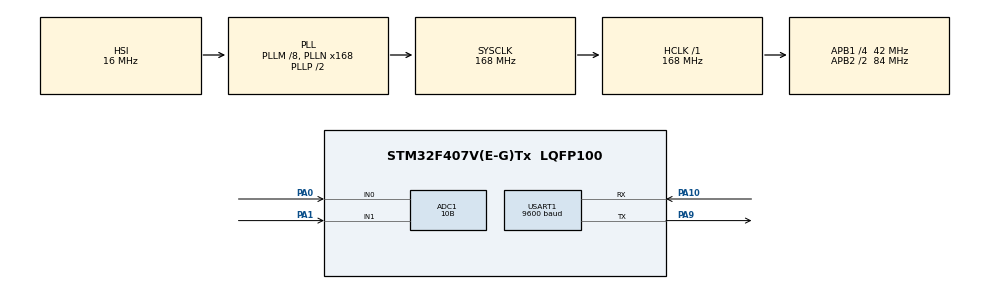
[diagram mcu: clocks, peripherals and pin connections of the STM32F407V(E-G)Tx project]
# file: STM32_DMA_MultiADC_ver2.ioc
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ADC1.Channel-0\#ChannelRegularConversion=ADC_CHANNEL_0
ADC1.Channel-1\#ChannelRegularConversion=ADC_CHANNEL_1
ADC1.ClockPrescaler=ADC_CLOCK_SYNC_PCLK_DIV4
ADC1.ContinuousConvMode=ENABLE
ADC1.DMAContinuousRequests=ENABLE
ADC1.DiscontinuousConvMode=DISABLE
ADC1.NbrOfConversion=2
ADC1.NbrOfConversionFlag=1
ADC1.Rank-0\#ChannelRegularConversion=1
ADC1.Rank-1\#ChannelRegularConversion=2
ADC1.Resolution=ADC_RESOLUTION_10B
ADC1.SamplingTime-0\#ChannelRegularConversion=ADC_SAMPLETIME_144CYCLES
ADC1.SamplingTime-1\#ChannelRegularConversion=ADC_SAMPLETIME_144CYCLES
ADC1.ScanConvMode=ENABLE
ADC1.master=1
Dma.ADC1.0.Direction=DMA_PERIPH_TO_MEMORY
Dma.ADC1.0.FIFOMode=DMA_FIFOMODE_DISABLE
Dma.ADC1.0.Instance=DMA2_Stream0
Dma.ADC1.0.MemDataAlignment=DMA_MDATAALIGN_HALFWORD
Dma.ADC1.0.MemInc=DMA_MINC_ENABLE
Dma.ADC1.0.Mode=DMA_CIRCULAR
Dma.ADC1.0.PeriphDataAlignment=DMA_PDATAALIGN_HALFWORD
Dma.ADC1.0.PeriphInc=DMA_PINC_DISABLE
Dma.ADC1.0.Priority=DMA_PRIORITY_VERY_HIGH
Dma.Request0=ADC1
Mcu.Family=STM32F4
Mcu.Name=STM32F407V(E-G)Tx
Mcu.Package=LQFP100
NVIC.DMA2_Stream0_IRQn=true\:0\:0\:false\:false\:true\:false\:true\:true
NVIC.PriorityGroup=NVIC_PRIORITYGROUP_4
PA0-WKUP.Signal=ADCx_IN0
PA1.Signal=ADCx_IN1
PA10.Mode=Asynchronous
PA10.Signal=USART1_RX
PA13.Mode=Serial_Wire
PA13.Signal=SYS_JTMS-SWDIO
PA14.Mode=Serial_Wire
PA14.Signal=SYS_JTCK-SWCLK
PA9.Mode=Asynchronous
PA9.Signal=USART1_TX
PH0-OSC_IN.Mode=HSE-External-Oscillator
PH0-OSC_IN.Signal=RCC_OSC_IN
PH1-OSC_OUT.Mode=HSE-External-Oscillator
PH1-OSC_OUT.Signal=RCC_OSC_OUT
ProjectManager.HeapSize=0x200
ProjectManager.StackSize=0x400
ProjectManager.TargetToolchain=EWARM V8.50
RCC.48MHZClocksFreq_Value=84000000
RCC.AHBFreq_Value=168000000
RCC.APB1CLKDivider=RCC_HCLK_DIV4
RCC.APB1Freq_Value=42000000
RCC.APB1TimFreq_Value=84000000
RCC.APB2CLKDivider=RCC_HCLK_DIV2
RCC.APB2Freq_Value=84000000
RCC.APB2TimFreq_Value=168000000
RCC.CortexFreq_Value=168000000
RCC.HCLKFreq_Value=168000000
RCC.HSE_VALUE=8000000
RCC.HSI_VALUE=16000000
RCC.LSE_VALUE=32768
RCC.PLLM=8
RCC.PLLN=168
RCC.SYSCLKFreq_VALUE=168000000
RCC.SYSCLKSource=RCC_SYSCLKSOURCE_PLLCLK
RCC.VCOOutputFreq_Value=336000000
SH.ADCx_IN0.0=ADC1_IN0,IN0
SH.ADCx_IN1.0=ADC1_IN1,IN1
USART1.BaudRate=9600
USART1.VirtualMode=VM_ASYNC
board=custom

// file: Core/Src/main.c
/* USER CODE BEGIN Header */
/**
  ******************************************************************************
  * @file           : main.c
  * @brief          : Main program body
  ******************************************************************************
  * @attention
  *
  * Copyright (c) 2023 STMicroelectronics.
  * All rights reserved.
  *
  * This software is licensed under terms that can be found in the LICENSE file
  * in the root directory of this software component.
  * If no LICENSE file comes with this software, it is provided AS-IS.
  *
  ******************************************************************************
  */
/* USER CODE END Header */
#include "main.h"

ADC_HandleTypeDef hadc1;
DMA_HandleTypeDef hdma_adc1;

UART_HandleTypeDef huart1;

/* USER CODE BEGIN PV */

uint16_t adc_value[2];
uint16_t adc1_ch0, adc1_ch1;

uint8_t adc_data[4];    // Buffer to hold formatted ADC data
uint8_t checksum;

//uint8_t START_BYTE = 0xAA;
//uint8_t END_BYTE = 0x55;

/* USER CODE END PV */

void SystemClock_Config(void);
static void MX_GPIO_Init(void);
static void MX_DMA_Init(void);
static void MX_ADC1_Init(void);
static void MX_USART1_UART_Init(void);

int main(void)
{

  /* MCU Configuration--------------------------------------------------------*/

  /* Reset of all peripherals, Initializes the Flash interface and the Systick. */
  HAL_Init();

  /* Configure the system clock */
  SystemClock_Config();

  /* Initialize all configured peripherals */
  MX_GPIO_Init();
  MX_DMA_Init();
  MX_ADC1_Init();
  MX_USART1_UART_Init();
  /* USER CODE BEGIN 2 */

  HAL_ADC_Start_DMA(&hadc1, (uint32_t *)adc_value, 2);

  /* USER CODE END 2 */

  /* Infinite loop */
  while (1)
  {

    /* USER CODE BEGIN 3 */

    // Wait for ADC DMA transfer complete
    HAL_ADC_PollForConversion(&hadc1, HAL_MAX_DELAY);

    // Read ADC valur from the DMA buffer
    adc1_ch0 = adc_value[0];
    adc1_ch1 = adc_value[1];

    // Format ADC data for UART transmission
    adc_data[0] = adc1_ch0 & 0xFF;
    adc_data[1] = (adc1_ch0 >> 8) & 0xFF;
    adc_data[2] = adc1_ch1 & 0xFF;
    adc_data[3] = (adc1_ch1 >> 8) & 0xFF;

    // Calculate checksum (for example, using XOR)
    checksum = adc_data[0] ^ adc_data[1] ^ adc_data[2] ^ adc_data[3];

    // Start UART transmission only if the previous transmission is complete
    if(HAL_UART_GetState(&huart1) == HAL_UART_STATE_READY){
      // Transmit data frame
      HAL_UART_Transmit(&huart1, adc_data, 4, 100); // Transmit ADC data
      HAL_UART_Transmit(&huart1, &checksum, 1, 100);// Transmit checksum byte
    }
  }
  /* USER CODE END 3 */
}

void SystemClock_Config(void)
{
  RCC_OscInitTypeDef RCC_OscInitStruct = {0};
  RCC_ClkInitTypeDef RCC_ClkInitStruct = {0};

  /** Configure the main internal regulator output voltage
  */
  __HAL_RCC_PWR_CLK_ENABLE();
  __HAL_PWR_VOLTAGESCALING_CONFIG(PWR_REGULATOR_VOLTAGE_SCALE1);

  /** Initializes the RCC Oscillators according to the specified parameters
  * in the RCC_OscInitTypeDef structure.
  */
  RCC_OscInitStruct.OscillatorType = RCC_OSCILLATORTYPE_HSI;
  RCC_OscInitStruct.HSIState = RCC_HSI_ON;
  RCC_OscInitStruct.HSICalibrationValue = RCC_HSICALIBRATION_DEFAULT;
  RCC_OscInitStruct.PLL.PLLState = RCC_PLL_ON;
  RCC_OscInitStruct.PLL.PLLSource = RCC_PLLSOURCE_HSI;
  RCC_OscInitStruct.PLL.PLLM = 8;
  RCC_OscInitStruct.PLL.PLLN = 168;
  RCC_OscInitStruct.PLL.PLLP = RCC_PLLP_DIV2;
  RCC_OscInitStruct.PLL.PLLQ = 4;
  if (HAL_RCC_OscConfig(&RCC_OscInitStruct) != HAL_OK)
  {
    Error_Handler();
  }

  /** Initializes the CPU, AHB and APB buses clocks
  */
  RCC_ClkInitStruct.ClockType = RCC_CLOCKTYPE_HCLK|RCC_CLOCKTYPE_SYSCLK
                              |RCC_CLOCKTYPE_PCLK1|RCC_CLOCKTYPE_PCLK2;
  RCC_ClkInitStruct.SYSCLKSource = RCC_SYSCLKSOURCE_PLLCLK;
  RCC_ClkInitStruct.AHBCLKDivider = RCC_SYSCLK_DIV1;
  RCC_ClkInitStruct.APB1CLKDivider = RCC_HCLK_DIV4;
  RCC_ClkInitStruct.APB2CLKDivider = RCC_HCLK_DIV2;

  if (HAL_RCC_ClockConfig(&RCC_ClkInitStruct, FLASH_LATENCY_5) != HAL_OK)
  {
    Error_Handler();
  }
}

static void MX_ADC1_Init(void)
{

  ADC_ChannelConfTypeDef sConfig = {0};

  /** Configure the global features of the ADC (Clock, Resolution, Data Alignment and number of conversion)
  */
  hadc1.Instance = ADC1;
  hadc1.Init.ClockPrescaler = ADC_CLOCK_SYNC_PCLK_DIV4;
  hadc1.Init.Resolution = ADC_RESOLUTION_10B;
  hadc1.Init.ScanConvMode = ENABLE;
  hadc1.Init.ContinuousConvMode = ENABLE;
  hadc1.Init.DiscontinuousConvMode = DISABLE;
  hadc1.Init.ExternalTrigConvEdge = ADC_EXTERNALTRIGCONVEDGE_NONE;
  hadc1.Init.ExternalTrigConv = ADC_SOFTWARE_START;
  hadc1.Init.DataAlign = ADC_DATAALIGN_RIGHT;
  hadc1.Init.NbrOfConversion = 2;
  hadc1.Init.DMAContinuousRequests = ENABLE;
  hadc1.Init.EOCSelection = ADC_EOC_SINGLE_CONV;
  if (HAL_ADC_Init(&hadc1) != HAL_OK)
  {
    Error_Handler();
  }

  /** Configure for the selected ADC regular channel its corresponding rank in the sequencer and its sample time.
  */
  sConfig.Channel = ADC_CHANNEL_0;
  sConfig.Rank = 1;
  sConfig.SamplingTime = ADC_SAMPLETIME_144CYCLES;
  if (HAL_ADC_ConfigChannel(&hadc1, &sConfig) != HAL_OK)
  {
    Error_Handler();
  }

  /** Configure for the selected ADC regular channel its corresponding rank in the sequencer and its sample time.
  */
  sConfig.Channel = ADC_CHANNEL_1;
  sConfig.Rank = 2;
  if (HAL_ADC_ConfigChannel(&hadc1, &sConfig) != HAL_OK)
  {
    Error_Handler();
  }

}

static void MX_USART1_UART_Init(void)
{

  huart1.Instance = USART1;
  huart1.Init.BaudRate = 9600;
  huart1.Init.WordLength = UART_WORDLENGTH_8B;
  huart1.Init.StopBits = UART_STOPBITS_1;
  huart1.Init.Parity = UART_PARITY_NONE;
  huart1.Init.Mode = UART_MODE_TX_RX;
  huart1.Init.HwFlowCtl = UART_HWCONTROL_NONE;
  huart1.Init.OverSampling = UART_OVERSAMPLING_16;
  if (HAL_UART_Init(&huart1) != HAL_OK)
  {
    Error_Handler();
  }

}

static void MX_DMA_Init(void)
{

  /* DMA controller clock enable */
  __HAL_RCC_DMA2_CLK_ENABLE();

  /* DMA interrupt init */
  /* DMA2_Stream0_IRQn interrupt configuration */
  HAL_NVIC_SetPriority(DMA2_Stream0_IRQn, 0, 0);
  HAL_NVIC_EnableIRQ(DMA2_Stream0_IRQn);

}

static void MX_GPIO_Init(void)
{

  /* GPIO Ports Clock Enable */
  __HAL_RCC_GPIOH_CLK_ENABLE();
  __HAL_RCC_GPIOA_CLK_ENABLE();

}

void Error_Handler(void)
{
  __disable_irq();
  while (1)
  {
  }
}
